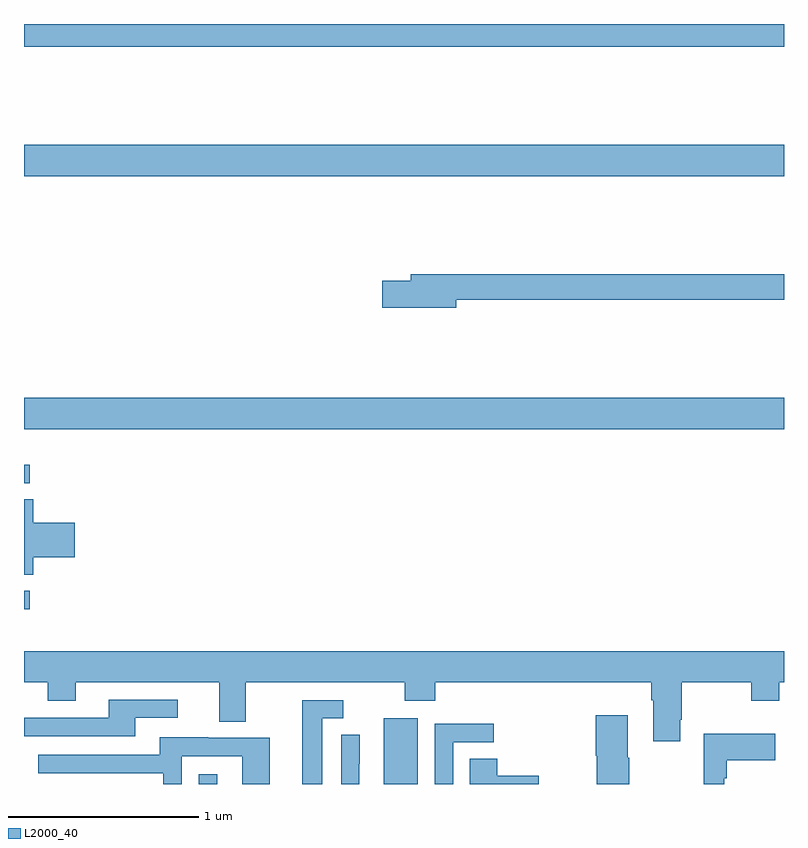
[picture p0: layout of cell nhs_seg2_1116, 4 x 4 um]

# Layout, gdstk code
import gdstk
lib = gdstk.Library(unit=1e-6, precision=1e-09)
def R(c, l, rs):  # rectangles x0, y0, x1, y1
    for r in rs: c.add(gdstk.rectangle(r[:2], r[2:], *l))
def P(c, l, *ps):  # polygons
    for p in ps: c.add(gdstk.Polygon(p, *l))
L2000_40 = (2000, 40)

nhs_seg2_1116 = lib.new_cell('nhs_seg2_1116')
R(nhs_seg2_1116, L2000_40, [(169.92,613.8,170.017,613.852), (170.894,613.8,171.073,614.146), (169,614.719,169.03,614.817), (169,615.384,169.03,615.48), (169,615.668,173,615.832), (169,617,173,617.164), (169,617.68,173,617.8)])
P(nhs_seg2_1116, L2000_40, [(171.274,616.348),(173,616.348),(173,616.484),(171.035,616.484),(171.035,616.448),(170.886,616.448),(170.886,616.306),(171.274,616.306)],
  [(169.049,614.993),(169.267,614.993),(169.267,615.176),(169.049,615.176),(169.049,615.299),(169,615.299),(169,614.902),(169.049,614.902)],
  [(172.453,614.137),(172.461,614.137),(172.461,614.336),(172.828,614.336),(172.828,614.237),(172.974,614.237),(172.974,614.336),(173,614.336),(173,614.5),(169,614.5),(169,614.336),(169.126,614.336),(169.126,614.237),(169.273,614.237),(169.273,614.336),(170.027,614.336),(170.027,614.128),(170.167,614.128),(170.167,614.336),(171.004,614.336),(171.004,614.237),(171.164,614.237),(171.164,614.336),(172.301,614.336),(172.301,614.24),(172.313,614.24),(172.313,614.025),(172.453,614.025)],
  [(169.585,614.148),(169.81,614.148),(169.81,614.244),(169.445,614.244),(169.445,614.148),(169,614.148),(169,614.052),(169.585,614.052)],
  [(170.569,614.145),(170.68,614.145),(170.68,614.241),(170.465,614.241),(170.465,613.8),(170.569,613.8)],
  [(172.185,613.937),(172.177,613.937),(172.177,614.161),(172.01,614.161),(172.01,613.948),(172.015,613.948),(172.015,613.8),(172.185,613.8)],
  [(171.258,614.019),(171.472,614.019),(171.472,614.118),(171.162,614.118),(171.162,613.8),(171.258,613.8)],
  [(172.686,613.829),(172.699,613.829),(172.699,613.925),(172.955,613.925),(172.955,614.065),(172.578,614.065),(172.578,613.8),(172.686,613.8)],
  [(170.765,613.906),(170.766,613.906),(170.766,614.06),(170.67,614.06),(170.67,613.8),(170.765,613.8)],
  [(169.83,613.947),(170.148,613.947),(170.148,613.8),(170.293,613.8),(170.293,614.043),(169.969,614.043),(169.969,614.047),(169.715,614.047),(169.715,613.953),(169.075,613.953),(169.075,613.857),(169.734,613.857),(169.734,613.8),(169.83,613.8)],
  [(171.709,613.844),(171.491,613.844),(171.491,613.934),(171.347,613.934),(171.347,613.8),(171.709,613.8)])

lib.write_gds('nhs_seg2_1116.gds')
